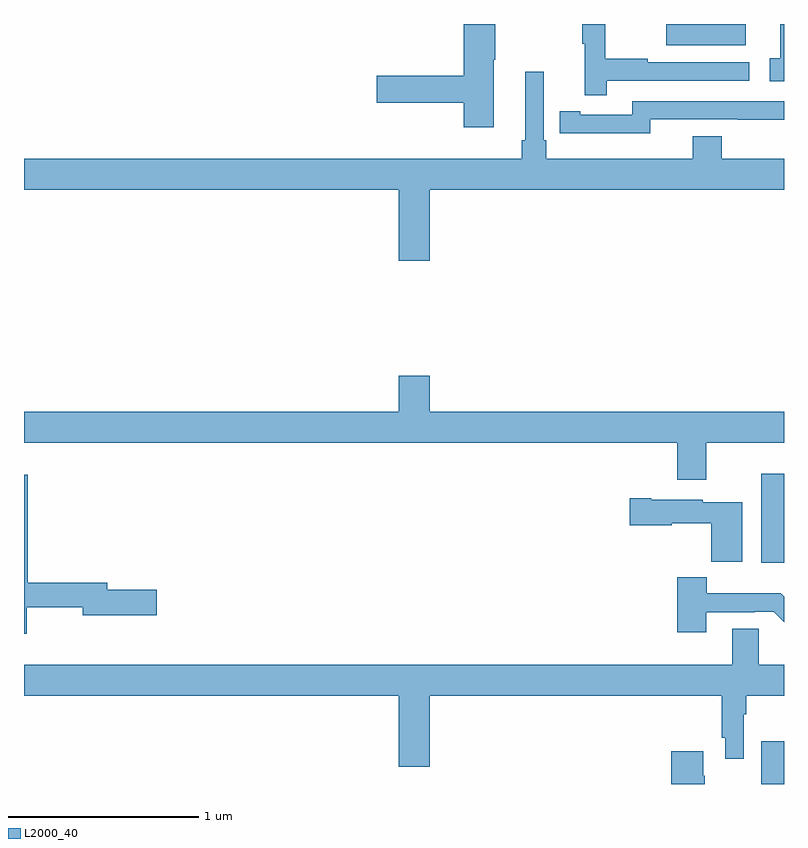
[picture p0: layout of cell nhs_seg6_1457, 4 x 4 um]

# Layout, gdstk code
import gdstk
lib = gdstk.Library(unit=1e-6, precision=1e-09)
def R(c, l, rs):  # rectangles x0, y0, x1, y1
    for r in rs: c.add(gdstk.rectangle(r[:2], r[2:], *l))
def P(c, l, *ps):  # polygons
    for p in ps: c.add(gdstk.Polygon(p, *l))
L2000_40 = (2000, 40)

nhs_seg6_1457 = lib.new_cell('nhs_seg6_1457')
R(nhs_seg6_1457, L2000_40, [(202.88,985.5,203,985.726), (202.88,986.664,203,987.133), (202.379,989.387,202.798,989.5)])
P(nhs_seg6_1457, L2000_40, [(201.472,989.311),(201.48,989.311),(201.48,989.5),(201.314,989.5),(201.314,989.228),(200.856,989.228),(200.856,989.086),(201.314,989.086),(201.314,988.956),(201.472,988.956)],
  [(203,989.5),(202.979,989.5),(202.979,989.319),(202.926,989.319),(202.926,989.199),(203,989.199)],
  [(202.067,989.202),(202.816,989.202),(202.816,989.298),(202.283,989.298),(202.283,989.318),(202.06,989.318),(202.06,989.5),(201.939,989.5),(201.939,989.395),(201.95,989.395),(201.95,989.124),(202.067,989.124)],
  [(201.136,988.628),(203,988.628),(203,988.792),(202.673,988.792),(202.673,988.909),(202.52,988.909),(202.52,988.792),(201.749,988.792),(201.749,988.888),(201.735,988.888),(201.735,989.248),(201.638,989.248),(201.638,988.888),(201.619,988.888),(201.619,988.792),(199,988.792),(199,988.628),(200.972,988.628),(200.972,988.254),(201.136,988.254)],
  [(202.296,988.998),(202.756,988.998),(202.756,988.997),(203,988.997),(203,989.094),(202.2,989.094),(202.2,989.022),(201.928,989.022),(201.928,989.042),(201.82,989.042),(201.82,988.926),(201.928,988.926),(201.928,988.925),(202.296,988.925)],
  [(202.591,987.296),(203,987.296),(203,987.46),(201.136,987.46),(201.136,987.649),(200.972,987.649),(200.972,987.46),(199,987.46),(199,987.296),(202.439,987.296),(202.439,987.102),(202.591,987.102)],
  [(199.014,986.43),(199.31,986.43),(199.31,986.387),(199.699,986.387),(199.699,986.522),(199.438,986.522),(199.438,986.558),(199.019,986.558),(199.019,987.127),(199,987.127),(199,986.292),(199.014,986.292)],
  [(202.78,986.983),(202.572,986.983),(202.572,986.995),(202.3,986.995),(202.3,987.003),(202.188,987.003),(202.188,986.861),(202.41,986.861),(202.41,986.873),(202.618,986.873),(202.618,986.669),(202.78,986.669)],
  [(202.591,986.403),(202.847,986.403),(202.847,986.406),(202.946,986.406),(203,986.352),(203,986.486),(202.983,986.503),(202.594,986.503),(202.594,986.587),(202.439,986.587),(202.439,986.298),(202.591,986.298)],
  [(201.136,985.964),(202.672,985.964),(202.672,985.744),(202.692,985.744),(202.692,985.632),(202.788,985.632),(202.788,985.868),(202.801,985.868),(202.801,985.964),(203,985.964),(203,986.128),(202.867,986.128),(202.867,986.318),(202.727,986.318),(202.727,986.128),(199,986.128),(199,985.964),(200.972,985.964),(200.972,985.59),(201.136,985.59)],
  [(202.584,985.544),(202.576,985.544),(202.576,985.672),(202.406,985.672),(202.406,985.5),(202.584,985.5)])

lib.write_gds('nhs_seg6_1457.gds')
